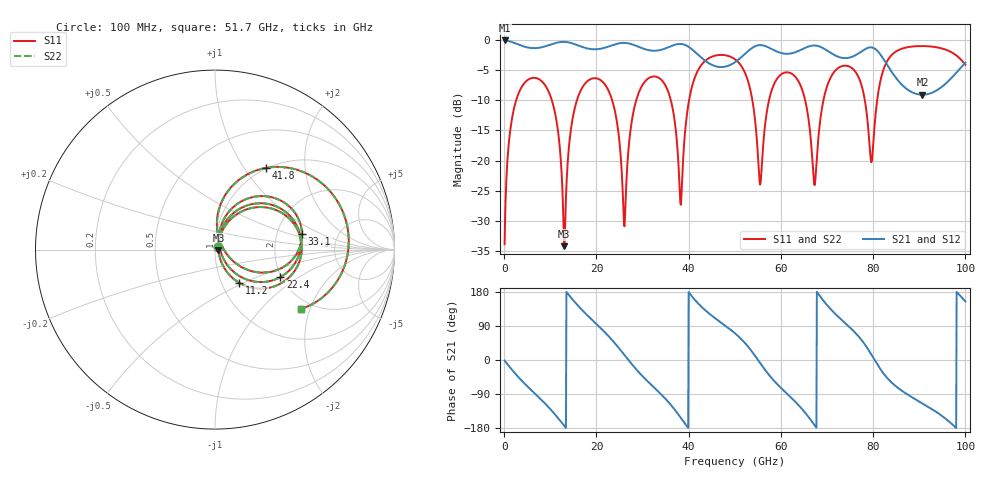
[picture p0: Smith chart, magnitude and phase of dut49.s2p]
! Touchstone file exported from HFSS 2026.1.0
!  File:  C:/ffzhzh/LocalFiles/Ansys_Project_Files/temp_train_TSV_RDL_49_1783445115_34316.aedt
!  Generated:  02:08:54 AM Jul  8, 2026
!  Design:  TSV_RDL
!  Project:  temp_train_TSV_RDL_49_1783445115_34316
! Variables:
!  h_bsmrdl = 4.1um
!  h_ox = 20um
!  h_rdl = 5um
!  h_sub = 94.62um
!  h_tmrdl = 4.63um
!  h_tsv = 94.62um
!  h_via = 3um
!  l_bsmrdl = 498.62um
!  l_sub = 4373.99um
!  l_tmrdl = 579.25um
!  m_sub = 200um
!  pitch = 54.82um
!  r_tsv = 9.24um
!  s_tmrdl = 10um
!  w_bsmrdl = 29.84um
!  w_sub = 500um
!  w_tmrdl = 23.87um
!  x_tsv_center1 = 591.185um
!  x_tsv_center2 = 1119.645um
!  x_tsv_center3 = 1722.765um
!  x_tsv_center4 = 2251.225um
!  x_tsv_center5 = 2854.345um
!  x_tsv_center6 = 3382.805um
# GHz S MA R 50.000000
! Terminal data exported
! Port[1] = TM_RDL1_1_T1
! Port[2] = TM_RDL5_1_T1
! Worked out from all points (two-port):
!   1000 points, 100 MHz to 100 GHz, reference 50 ohm
!   highest |S21| = -0.12 dB at 100 MHz (marker M1); lowest = -9.1 dB at 90.7 GHz (marker M2)
!   |S21| within 3 dB of the highest: start of sweep to 42.98 GHz; 51.07 GHz to 82.18 GHz (31.11 GHz wide, 46.7 % of centre)
!   lowest |S11| = -34.2 dB at 13 GHz (marker M3), VSWR 1.04, Z = 51.9 - j0.462 ohm
!   |S11| at or under -10 dB: 10.33 GHz to 15.79 GHz (5.457 GHz wide, 41.8 % of centre); 23.41 GHz to 28.64 GHz (5.232 GHz wide, 20.1 % of centre); 65.26 GHz to 69.23 GHz (3.972 GHz wide, 5.91 % of centre) (the widest 3 of 7)
!   |S22| runs from -34.2 to -1.0 dB; largest |S21 - S12| = 2.4e-13
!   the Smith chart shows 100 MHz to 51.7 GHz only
!   S11 on the Smith chart (normalised r, x): 100 MHz: 1.03, +0.03; 11.2 GHz: 1.21, -0.47; 22.4 GHz: 1.97, -0.72; 33.1 GHz: 2.77, +0.64; 41.8 GHz: 0.99, +1.26; 51.7 GHz: 1.74, -1.74
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0.1  0.02027 46.4  0.9863 -1.6  0.9863 -1.6  0.02027 46.4
! Gamma 0 0 0 0
! Port Impedance 50 0 50 0
3.5  0.3871 36.4  0.9005 -50.5  0.9005 -50.5  0.3871 36.4
11.2  0.2293 -53.9  0.9402 -146.2  0.9402 -146.2  0.2294 -53.9
13  0.01955 -13.1  0.9604 -173.0  0.9604 -173.0  0.01956 -13.2
16.8  0.3931 40.1  0.8754 133.1  0.8754 133.1  0.3931 40.1
22.4  0.3946 -22.9  0.8722 66.0  0.8722 66.0  0.3947 -22.9
26.1  0.02854 23.3  0.9422 12.8  0.9422 12.8  0.02817 23.3
28.5  0.3023 61.8  0.8937 -22.8  0.8937 -22.8  0.3022 61.9
33.1  0.4924 10.2  0.813 -79.5  0.813 -79.5  0.4924 10.3
33.4  0.4869 7.0  0.8158 -83.0  0.8158 -83.0  0.4869 7.1
38.3  0.043 30.7  0.9229 -152.5  0.9229 -152.5  0.04445 30.6
41.8  0.5362 58.1  0.7659 152.6  0.7659 152.6  0.5363 58.0
50.1  0.6864 -18.1  0.6537 69.9  0.6537 69.9  0.6863 -18.2
51.7  0.5821 -34.6  0.7328 51.6  0.7328 51.6  0.582 -34.6
55.5  0.06317 -8.3  0.903 -8.0  0.903 -8.0  0.06295 -8.3
59.1  0.4713 23.6  0.7996 -62.5  0.7996 -62.5  0.4713 23.6
66.7  0.1182 -41.7  0.8934 -161.9  0.8934 -161.9  0.1178 -42.0
75.8  0.5642 -11.5  0.7322 75.9  0.7322 75.9  0.5641 -11.6
79.6  0.09675 8.7  0.8645 14.6  0.8645 14.6  0.09509 8.6
83.4  0.6999 31.3  0.5894 -52.1  0.5894 -52.1  0.6997 31.4
90.7  0.8864 -24.8  0.3505 -114.5  0.3505 -114.5  0.8863 -24.7
100  0.619 -109.8  0.6469 154.5  0.6469 154.5  0.6188 -109.7
